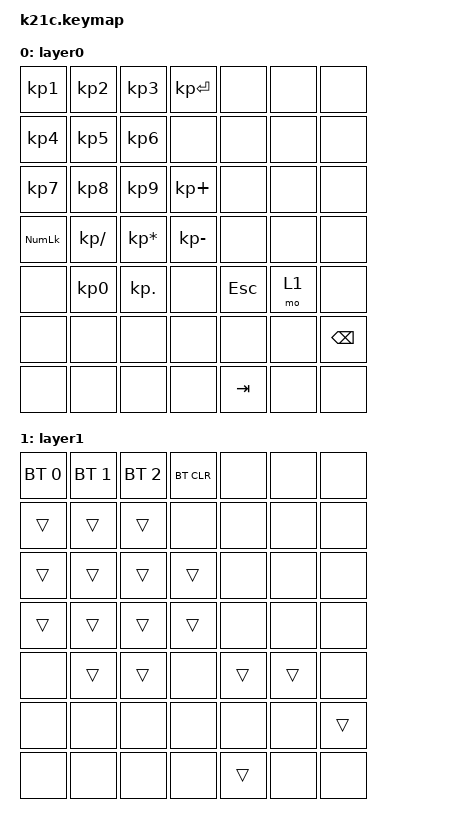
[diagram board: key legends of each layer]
#include <behaviors.dtsi>
#include <dt-bindings/zmk/keys.h>
#include <dt-bindings/zmk/bt.h>
/ {
  keymap {
    compatible = "zmk,keymap";
    label = "K21C";
    layer0 {
      bindings = <
        &kp KP_N1 &kp KP_N2 &kp KP_N3 &kp KP_ENTER &none &none &none
        &kp KP_N4 &kp KP_N5 &kp KP_N6 &none &none &none &none
        &kp KP_N7 &kp KP_N8 &kp KP_N9 &kp KP_PLUS &none &none &none
        &kp KP_NUMLOCK &kp KP_DIVIDE &kp KP_MULTIPLY &kp KP_MINUS &none &none &none
        &none &kp KP_N0 &kp KP_DOT &none &kp ESC &mo 1 &none
        &none &none &none &none &none &none &kp BACKSPACE
        &none &none &none &none &kp TAB &none &none
      >;
    };
    layer1 {
      bindings = <
        &bt BT_SEL 0 &bt BT_SEL 1 &bt BT_SEL 2 &bt BT_CLR &none &none &none
        &trans &trans &trans &none &none &none &none
        &trans &trans &trans &trans &none &none &none
        &trans &trans &trans &trans &none &none &none
        &none &trans &trans &none &trans &trans &none
        &none &none &none &none &none &none &trans
        &none &none &none &none &trans &none &none
      >;
    };
  };
};
